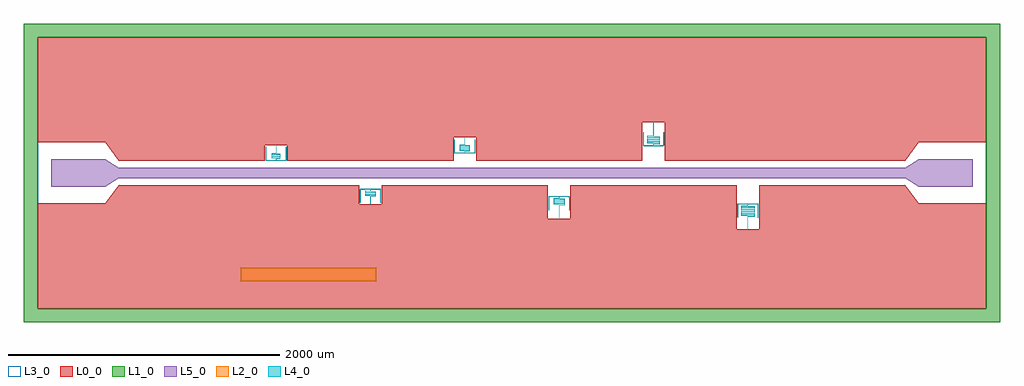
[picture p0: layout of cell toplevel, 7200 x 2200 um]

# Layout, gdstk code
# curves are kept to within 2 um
import gdstk
lib = gdstk.Library(unit=1e-6, precision=1e-09)
def R(c, l, rs):  # rectangles x0, y0, x1, y1
    for r in rs: c.add(gdstk.rectangle(r[:2], r[2:], *l))
def P(c, l, *ps):  # polygons
    for p in ps: c.add(gdstk.Polygon(p, *l))
L0_0 = (0, 0)
L1_0 = (1, 0)
L2_0 = (2, 0)
L3_0 = (3, 0)
L4_0 = (4, 0)
L5_0 = (5, 0)

toplevel = lib.new_cell('toplevel')
P(toplevel, L0_0, [(-1657.5,205),(-1657.5,90),(-430.5,90),(-430.5,264.4),(-265.5,264.4),(-265.5,90),(961.5,90),(961.5,373.8),(1126.5,373.8),(1126.5,90),(2900,90),(3000,225),(3500,225),(3500,1000),(-3500,1000),(-3500,225),(-3000,225),(-2900,90),(-1822.5,90),(-1822.5,205)],
  [(2900,-90),(1822.5,-90),(1822.5,-416),(1657.5,-416),(1657.5,-90),(430.5,-90),(430.5,-336.6),(265.5,-336.6),(265.5,-90),(-961.5,-90),(-961.5,-232.2),(-1126.5,-232.2),(-1126.5,-90),(-2900,-90),(-3000,-225),(-3500,-225),(-3500,-1000),(3500,-1000),(3500,-225),(3000,-225)])
P(toplevel, L1_0, [(3600,1100),(-3600,1100),(-3600,-1000),(-3500,-1000),(-3500,1000),(3500,1000),(3500,-1000),(-3500,-1000),(-3600,-1000),(-3600,-1100),(3600,-1100)])
R(toplevel, L2_0, [(-2000,-800,-1000,-700)])
R(toplevel, L3_0, [(-3500,-1000,3500,1000)])
P(toplevel, L4_0, [(-1739.7,103.925),(-1739.566,104.536),(-1739.02,104.699),(-1709.78,104.71),(-1708.933,105.13),(-1708.7,106.101),(-1708.75,109.468),(-1709.13,110.067),(-1709.828,110.293),(-1769.888,110.3),(-1770.646,110.605),(-1770.689,114.197),(-1770.127,114.695),(-1709.923,114.702),(-1708.79,115.401),(-1708.738,119.416),(-1709.099,120.044),(-1709.81,120.292),(-1769.888,120.3),(-1770.644,120.598),(-1770.682,124.251),(-1770.145,124.694),(-1709.946,124.701),(-1708.797,125.381),(-1708.733,129.39),(-1709.058,130.008),(-1709.816,130.292),(-1769.95,130.3),(-1770.64,130.589),(-1770.687,134.21),(-1770.15,134.693),(-1710.008,134.7),(-1708.81,135.348),(-1708.736,139.403),(-1709.082,140.029),(-1709.786,140.29),(-1769.95,140.3),(-1770.632,140.57),(-1770.691,144.176),(-1770.247,144.682),(-1740.963,144.701),(-1739.834,145.296),(-1739.7,205),(-1740.3,205),(-1740.375,145.555),(-1741.02,145.3),(-1770.364,145.271),(-1771.272,144.358),(-1771.178,140.322),(-1769.986,139.7),(-1709.85,139.693),(-1709.312,139.206),(-1709.364,135.579),(-1710.05,135.3),(-1770.214,135.29),(-1770.918,135.029),(-1771.263,134.409),(-1771.198,130.368),(-1770.763,129.864),(-1769.992,129.7),(-1709.864,129.694),(-1709.31,129.189),(-1709.365,125.576),(-1709.985,125.301),(-1770.19,125.292),(-1770.918,125.029),(-1771.264,124.403),(-1771.208,120.394),(-1770.077,119.702),(-1709.855,119.694),(-1709.309,119.176),(-1709.356,115.598),(-1710.112,115.3),(-1770.22,115.289),(-1770.912,115.034),(-1771.265,114.396),(-1771.232,110.467),(-1770.814,109.894),(-1770.077,109.702),(-1709.824,109.691),(-1709.315,109.227),(-1709.308,105.828),(-1709.985,105.301),(-1739.481,105.246),(-1740.278,104.32),(-1740.3,100),(-1750,95),(-1810.62,95),(-1812.27,95.279),(-1812.502,190.109),(-1812.952,191.434),(-1814.043,192.31),(-1815.326,192.479),(-1816.607,191.915),(-1817.266,191.056),(-1817.5,190),(-1817.475,95.954),(-1816.915,93.4),(-1815.563,91.507),(-1813.447,90.346),(-1810.644,90),(-1669.356,90),(-1666.888,90.253),(-1664.934,91.118),(-1663.1,93.365),(-1662.503,96.563),(-1662.5,190),(-1663.085,191.607),(-1664.353,192.415),(-1665.752,192.384),(-1666.983,191.522),(-1667.498,190.109),(-1667.5,96.88),(-1667.746,95.257),(-1669.38,95),(-1730,95),(-1739.7,100)],
  [(-1044.302,-131.277),(-1044.443,-131.746),(-1044.919,-131.897),(-1082.377,-131.931),(-1083.085,-132.355),(-1083.3,-133.258),(-1083.267,-136.59),(-1082.965,-137.187),(-1082.39,-137.467),(-1006.01,-137.5),(-1005.432,-137.666),(-1005.3,-138.322),(-1005.32,-141.459),(-1005.891,-141.896),(-1081.981,-141.9),(-1082.75,-142.057),(-1083.19,-142.548),(-1083.262,-146.616),(-1082.9,-147.244),(-1082.171,-147.493),(-1006.06,-147.5),(-1005.367,-147.773),(-1005.313,-151.414),(-1005.877,-151.895),(-1081.975,-151.9),(-1082.73,-152.047),(-1083.172,-152.509),(-1083.263,-156.609),(-1082.906,-157.239),(-1082.171,-157.493),(-1006.06,-157.5),(-1005.376,-157.752),(-1005.313,-161.41),(-1005.877,-161.895),(-1081.97,-161.9),(-1083.15,-162.463),(-1083.265,-166.596),(-1082.912,-167.234),(-1082.178,-167.493),(-1006.065,-167.5),(-1005.388,-167.729),(-1005.309,-171.38),(-1005.79,-171.887),(-1043.003,-171.9),(-1044.117,-172.405),(-1044.3,-232.2),(-1043.7,-232.2),(-1043.606,-172.718),(-1042.96,-172.5),(-1005.693,-172.48),(-1005.041,-172.192),(-1004.728,-171.558),(-1004.864,-167.437),(-1006.03,-166.9),(-1082.123,-166.895),(-1082.687,-166.41),(-1082.618,-162.74),(-1081.935,-162.5),(-1005.828,-162.493),(-1005.093,-162.239),(-1004.736,-161.603),(-1004.837,-157.489),(-1006.025,-156.9),(-1082.123,-156.895),(-1082.687,-156.41),(-1082.628,-152.761),(-1081.94,-152.5),(-1005.828,-152.493),(-1005.099,-152.244),(-1004.738,-151.616),(-1004.816,-147.535),(-1005.263,-147.05),(-1006.025,-146.9),(-1082.123,-146.895),(-1082.687,-146.414),(-1082.636,-142.779),(-1081.94,-142.5),(-1005.852,-142.495),(-1005.136,-142.272),(-1004.736,-141.603),(-1004.8,-137.575),(-1005.218,-137.075),(-1005.969,-136.901),(-1082.167,-136.892),(-1082.685,-136.427),(-1082.694,-133.055),(-1082.548,-132.644),(-1082.077,-132.502),(-1044.584,-132.462),(-1043.986,-132.136),(-1043.726,-131.545),(-1043.7,-127.2),(-1034,-122.2),(-973.38,-122.2),(-971.73,-122.479),(-971.5,-124.08),(-971.498,-217.309),(-971.048,-218.634),(-969.957,-219.51),(-968.674,-219.679),(-967.393,-219.115),(-966.734,-218.256),(-966.5,-217.2),(-966.525,-123.154),(-967.1,-120.565),(-968.437,-118.707),(-970.552,-117.546),(-973.356,-117.2),(-1114.644,-117.2),(-1117.112,-117.453),(-1119.066,-118.318),(-1120.853,-120.461),(-1121.496,-123.713),(-1121.5,-217.2),(-1120.915,-218.807),(-1119.647,-219.615),(-1118.248,-219.584),(-1117.017,-218.722),(-1116.502,-217.309),(-1116.5,-124.1),(-1116.254,-122.457),(-1114.62,-122.2),(-1054,-122.2),(-1044.3,-127.2)],
  [(-347.7,158.33),(-347.559,158.944),(-347.005,159.099),(-311.316,159.107),(-310.461,159.494),(-310.2,160.501),(-310.257,163.894),(-310.624,164.462),(-311.358,164.695),(-384.388,164.7),(-385.148,165.012),(-385.184,168.639),(-384.654,169.093),(-311.463,169.101),(-310.718,169.275),(-310.3,169.775),(-310.236,173.803),(-310.57,174.419),(-311.346,174.694),(-384.445,174.7),(-385.139,174.986),(-385.187,178.614),(-384.627,179.095),(-311.519,179.1),(-310.75,179.257),(-310.31,179.748),(-310.238,183.816),(-310.593,184.439),(-311.322,184.693),(-384.44,184.7),(-385.132,184.97),(-385.187,188.61),(-384.627,189.095),(-311.525,189.1),(-310.776,189.243),(-310.331,189.702),(-310.236,193.803),(-310.593,194.439),(-311.322,194.693),(-384.44,194.7),(-385.121,194.946),(-385.187,198.61),(-384.627,199.095),(-311.53,199.1),(-310.357,199.65),(-310.235,203.796),(-310.587,204.434),(-311.316,204.692),(-384.435,204.7),(-385.109,204.924),(-385.191,208.576),(-384.714,209.087),(-348.991,209.101),(-347.89,209.592),(-347.7,264.4),(-348.3,264.4),(-348.399,209.911),(-349.04,209.7),(-384.82,209.678),(-385.47,209.382),(-385.774,208.745),(-385.629,204.624),(-384.47,204.1),(-311.373,204.095),(-310.812,203.606),(-310.885,199.935),(-311.56,199.7),(-384.683,199.692),(-385.412,199.434),(-385.765,198.796),(-385.657,194.676),(-385.211,194.237),(-384.475,194.1),(-311.373,194.095),(-310.813,193.61),(-310.873,189.958),(-311.56,189.7),(-384.677,189.693),(-385.406,189.439),(-385.763,188.809),(-385.681,184.728),(-385.237,184.25),(-384.481,184.1),(-311.373,184.095),(-310.813,183.614),(-310.864,179.979),(-311.555,179.7),(-384.677,179.693),(-385.406,179.439),(-385.761,178.816),(-385.695,174.761),(-385.256,174.26),(-384.481,174.1),(-311.386,174.096),(-310.819,173.655),(-310.855,170.002),(-311.505,169.7),(-384.653,169.694),(-385.394,169.448),(-385.765,168.796),(-385.708,164.794),(-385.224,164.243),(-384.388,164.1),(-311.346,164.093),(-310.944,163.948),(-310.801,163.444),(-310.808,160.228),(-311.171,159.734),(-347.428,159.659),(-348.019,159.33),(-348.275,158.739),(-348.3,154.4),(-358,149.4),(-418.62,149.4),(-420.243,149.646),(-420.5,151.3),(-420.502,244.509),(-420.952,245.834),(-422.043,246.71),(-423.326,246.879),(-424.607,246.315),(-425.266,245.456),(-425.5,244.4),(-425.475,150.354),(-424.915,147.8),(-423.563,145.907),(-421.447,144.746),(-418.644,144.4),(-277.356,144.4),(-274.888,144.653),(-272.934,145.518),(-271.869,146.5),(-271.1,147.766),(-270.503,150.963),(-270.5,244.4),(-271.085,246.007),(-272.353,246.815),(-273.752,246.784),(-274.983,245.922),(-275.498,244.509),(-275.5,151.28),(-275.746,149.657),(-277.38,149.4),(-338,149.4),(-347.7,154.4)],
  [(347.697,-185.677),(347.555,-186.148),(347.077,-186.298),(307.699,-186.319),(306.961,-186.693),(306.701,-187.58),(306.729,-190.964),(307.007,-191.559),(307.493,-191.84),(388.091,-191.903),(388.544,-192.041),(388.695,-192.468),(388.695,-195.723),(388.427,-196.233),(307.876,-196.304),(307.082,-196.571),(306.715,-197.33),(306.725,-200.939),(307.296,-201.766),(388.114,-201.904),(388.548,-202.044),(388.689,-202.407),(388.494,-206.198),(307.876,-206.304),(307.058,-206.591),(306.717,-207.318),(306.712,-210.838),(307.142,-211.676),(308.111,-211.9),(388.114,-211.904),(388.688,-212.398),(388.53,-216.172),(307.882,-216.304),(307.099,-216.556),(306.731,-217.223),(306.704,-220.724),(307.013,-221.565),(308.111,-221.9),(388.109,-221.904),(388.687,-222.386),(388.559,-226.144),(307.888,-226.304),(307.148,-226.52),(306.75,-227.132),(306.7,-230.597),(307.013,-231.565),(307.957,-231.899),(387.94,-231.9),(388.644,-232.198),(388.689,-235.793),(388.206,-236.288),(348.98,-236.301),(348.231,-236.468),(347.8,-236.975),(347.7,-336.6),(348.3,-336.6),(348.359,-237.192),(349.03,-236.9),(388.294,-236.881),(388.948,-236.603),(389.267,-235.99),(389.205,-231.988),(388.763,-231.464),(387.981,-231.3),(307.882,-231.295),(307.314,-230.818),(307.353,-227.208),(308.055,-226.9),(388.165,-226.894),(388.894,-226.648),(389.259,-226.028),(389.217,-222.021),(388.782,-221.475),(387.981,-221.3),(307.882,-221.295),(307.314,-220.823),(307.348,-217.222),(308.055,-216.9),(388.165,-216.894),(388.894,-216.648),(389.257,-216.035),(389.226,-212.047),(388.788,-211.479),(387.981,-211.3),(307.882,-211.295),(307.314,-210.823),(307.344,-207.236),(308.055,-206.9),(388.165,-206.894),(388.894,-206.648),(389.257,-206.035),(389.234,-202.073),(388.801,-201.487),(387.986,-201.3),(307.882,-201.295),(307.315,-200.827),(307.341,-197.246),(308.055,-196.9),(388.13,-196.896),(388.882,-196.658),(389.257,-196.035),(389.24,-192.093),(388.858,-191.524),(388.031,-191.301),(307.868,-191.295),(307.313,-190.814),(307.378,-187.149),(308.106,-186.9),(347.454,-186.853),(348.008,-186.542),(348.273,-185.951),(348.3,-181.6),(358,-176.6),(418.62,-176.6),(420.243,-176.846),(420.5,-178.5),(420.502,-271.709),(420.734,-272.656),(421.311,-273.443),(422.145,-273.949),(423.109,-274.098),(424.768,-273.368),(425.498,-271.709),(425.5,-178.48),(425.154,-175.652),(423.964,-173.505),(422.031,-172.156),(419.327,-171.614),(277.356,-171.6),(275.02,-171.821),(273.07,-172.627),(271.923,-173.634),(271.147,-174.861),(270.505,-178.062),(270.5,-271.6),(270.69,-272.557),(271.311,-273.443),(272.248,-273.984),(273.218,-274.09),(274.768,-273.368),(275.498,-271.709),(275.5,-178.48),(275.746,-176.857),(277.38,-176.6),(338,-176.6),(347.7,-181.6)],
  [(1044.3,212.73),(1044.421,213.321),(1044.933,213.498),(1088.332,213.524),(1089.058,213.918),(1089.299,214.78),(1089.269,218.177),(1089.024,218.724),(1088.474,219.048),(999.919,219.103),(999.458,219.239),(999.306,219.664),(999.305,222.923),(999.573,223.433),(1088.118,223.504),(1088.948,223.797),(1089.29,224.586),(1089.274,228.145),(1088.652,228.99),(999.886,229.104),(999.452,229.244),(999.311,229.603),(999.304,232.904),(999.508,233.399),(1088.118,233.504),(1088.936,233.786),(1089.282,234.512),(1089.287,238.045),(1088.852,238.88),(1087.888,239.1),(999.891,239.104),(999.458,239.239),(999.312,239.594),(999.472,243.374),(1088.112,243.503),(1088.894,243.752),(1089.269,244.423),(1089.288,248.038),(1088.953,248.798),(1087.888,249.1),(999.895,249.104),(999.464,249.233),(999.314,249.582),(999.443,253.346),(1088.106,253.503),(1088.912,253.766),(1089.264,254.397),(1089.296,257.924),(1089.019,258.73),(1087.888,259.1),(999.895,259.104),(999.47,259.228),(999.315,259.573),(999.416,263.314),(1000.117,263.5),(1088.106,263.503),(1088.833,263.707),(1089.241,264.3),(1089.3,267.797),(1088.987,268.765),(1088.037,269.099),(1000.065,269.1),(999.363,269.382),(999.311,272.993),(999.807,273.489),(1043.008,273.501),(1043.75,273.657),(1044.184,274.135),(1044.3,373.8),(1043.7,373.8),(1043.633,274.373),(1042.96,274.1),(999.724,274.084),(999.058,273.808),(998.733,273.19),(998.808,269.155),(999.25,268.657),(1000.03,268.5),(1088.104,268.496),(1088.527,268.374),(1088.686,268.023),(1088.641,264.392),(1087.94,264.1),(999.846,264.094),(999.105,263.848),(998.741,263.228),(998.795,259.188),(999.237,258.664),(1000.025,258.5),(1088.109,258.496),(1088.527,258.374),(1088.686,258.023),(1088.646,254.405),(1087.94,254.1),(999.846,254.094),(999.105,253.848),(998.741,253.228),(998.785,249.214),(999.224,248.671),(1000.025,248.5),(1088.109,248.496),(1088.527,248.374),(1088.686,248.023),(1088.651,244.418),(1087.94,244.1),(999.852,244.095),(999.112,243.853),(998.743,243.235),(998.776,239.24),(999.211,238.679),(1000.025,238.5),(1088.109,238.496),(1088.527,238.374),(1088.685,238.027),(1088.655,234.432),(1087.94,234.1),(999.852,234.095),(999.112,233.853),(998.744,233.241),(998.768,229.267),(999.199,228.687),(1000.019,228.5),(1088.109,228.496),(1088.527,228.374),(1088.685,228.027),(1088.657,224.439),(1087.945,224.1),(999.882,224.096),(999.118,223.858),(998.743,223.235),(998.762,219.287),(999.186,218.694),(999.98,218.501),(1088.063,218.498),(1088.527,218.374),(1088.686,218.018),(1088.622,214.349),(1087.894,214.1),(1044.571,214.059),(1044.002,213.753),(1043.728,213.158),(1043.7,208.8),(1034,203.8),(973.38,203.8),(971.763,204.041),(971.5,205.68),(971.498,298.909),(971.266,299.856),(970.689,300.643),(969.855,301.149),(968.891,301.298),(967.943,301.066),(967.232,300.568),(966.69,299.757),(966.502,298.909),(966.5,205.656),(966.846,202.852),(968.007,200.737),(969.935,199.37),(972.673,198.814),(1114.644,198.8),(1116.98,199.021),(1118.895,199.805),(1119.964,200.705),(1120.82,201.992),(1121.321,203.515),(1121.493,205.185),(1121.5,298.8),(1121.31,299.757),(1120.689,300.643),(1119.752,301.184),(1118.782,301.29),(1117.232,300.568),(1116.69,299.757),(1116.502,298.909),(1116.5,205.7),(1116.254,204.057),(1114.62,203.8),(1054,203.8),(1044.3,208.8)],
  [(1739.697,-240.081),(1739.548,-240.555),(1739.058,-240.698),(1690.693,-240.72),(1689.956,-241.099),(1689.701,-241.963),(1689.731,-245.377),(1690.03,-245.982),(1690.604,-246.265),(1789.091,-246.303),(1789.544,-246.441),(1789.695,-246.868),(1789.692,-250.163),(1789.375,-250.653),(1690.894,-250.703),(1690.076,-250.976),(1689.712,-251.768),(1689.726,-255.345),(1689.961,-255.906),(1690.388,-256.205),(1789.109,-256.304),(1789.546,-256.443),(1789.697,-256.905),(1789.696,-260.109),(1789.445,-260.625),(1690.888,-260.704),(1690.064,-260.986),(1689.718,-261.712),(1689.713,-265.245),(1690.192,-266.11),(1691.117,-266.3),(1789.109,-266.304),(1789.542,-266.439),(1789.688,-266.794),(1789.696,-270.109),(1789.523,-270.577),(1690.894,-270.703),(1690.07,-270.981),(1689.72,-271.693),(1689.713,-275.245),(1690.082,-276.029),(1691.117,-276.3),(1789.104,-276.304),(1789.538,-276.435),(1789.687,-276.786),(1789.555,-280.548),(1788.883,-280.7),(1690.894,-280.703),(1690.082,-280.971),(1689.723,-281.674),(1689.704,-285.124),(1690.018,-285.97),(1691.117,-286.3),(1789.1,-286.304),(1789.532,-286.43),(1789.686,-286.777),(1789.555,-290.548),(1788.883,-290.7),(1690.9,-290.703),(1690.099,-290.956),(1689.727,-291.649),(1689.704,-295.124),(1689.956,-295.9),(1690.44,-296.224),(1691.117,-296.3),(1789.095,-296.303),(1789.523,-296.423),(1789.69,-296.811),(1789.582,-300.516),(1788.883,-300.7),(1690.792,-300.709),(1690.047,-301.002),(1689.73,-301.63),(1689.704,-305.124),(1689.928,-305.864),(1690.394,-306.208),(1691.117,-306.3),(1789.095,-306.303),(1789.546,-306.443),(1789.689,-306.807),(1789.607,-310.479),(1788.883,-310.7),(1690.911,-310.702),(1690.199,-310.887),(1689.772,-311.454),(1689.7,-314.992),(1690.013,-315.965),(1690.974,-316.299),(1788.93,-316.3),(1789.625,-316.555),(1789.689,-320.193),(1789.548,-320.555),(1789.176,-320.691),(1741.003,-320.7),(1740.283,-320.84),(1739.843,-321.276),(1739.7,-322.079),(1739.7,-416),(1740.3,-416),(1740.379,-321.546),(1741.045,-321.3),(1789.251,-321.287),(1789.936,-321.014),(1790.268,-320.383),(1790.166,-316.296),(1789.717,-315.84),(1788.964,-315.7),(1690.905,-315.697),(1690.472,-315.574),(1690.314,-315.218),(1690.371,-311.564),(1691.065,-311.3),(1789.136,-311.295),(1789.888,-311.053),(1790.26,-310.422),(1790.181,-306.328),(1789.73,-305.847),(1788.964,-305.7),(1690.905,-305.697),(1690.475,-305.575),(1690.314,-305.223),(1690.364,-301.579),(1691.065,-301.3),(1789.136,-301.295),(1789.888,-301.053),(1790.259,-300.428),(1790.195,-296.361),(1789.75,-295.857),(1788.97,-295.7),(1690.905,-295.697),(1690.475,-295.575),(1690.315,-295.227),(1690.358,-291.595),(1691.065,-291.3),(1789.136,-291.295),(1789.882,-291.058),(1790.257,-290.435),(1790.208,-286.394),(1789.763,-285.864),(1788.97,-285.7),(1690.905,-285.697),(1690.475,-285.575),(1690.315,-285.227),(1690.353,-281.608),(1691.065,-281.3),(1789.136,-281.295),(1789.882,-281.058),(1790.257,-280.435),(1790.215,-276.414),(1789.776,-275.871),(1788.97,-275.7),(1690.905,-275.697),(1690.475,-275.575),(1690.315,-275.227),(1690.349,-271.618),(1690.567,-271.369),(1691.06,-271.3),(1789.136,-271.295),(1789.882,-271.058),(1790.256,-270.442),(1790.224,-266.44),(1789.782,-265.875),(1788.97,-265.7),(1690.905,-265.697),(1690.477,-265.577),(1690.315,-265.231),(1690.345,-261.632),(1690.561,-261.372),(1691.06,-261.3),(1789.136,-261.295),(1789.882,-261.058),(1790.256,-260.442),(1790.23,-256.46),(1789.795,-255.883),(1788.975,-255.7),(1690.914,-255.697),(1690.488,-255.586),(1690.32,-255.263),(1690.345,-251.632),(1690.558,-251.373),(1691.025,-251.3),(1789.196,-251.292),(1789.882,-251.058),(1790.256,-250.441),(1790.243,-246.506),(1789.845,-245.915),(1789.031,-245.701),(1690.937,-245.698),(1690.47,-245.572),(1690.314,-245.218),(1690.359,-241.592),(1691.106,-241.3),(1739.403,-241.264),(1739.987,-240.965),(1740.271,-240.364),(1740.3,-236),(1750,-231),(1810.62,-231),(1812.218,-231.228),(1812.5,-232.9),(1812.502,-326.109),(1812.734,-327.056),(1813.311,-327.843),(1814.145,-328.349),(1815.109,-328.498),(1815.957,-328.31),(1816.768,-327.768),(1817.31,-326.957),(1817.498,-326.109),(1817.5,-232.88),(1817.154,-230.052),(1816.678,-228.915),(1815.964,-227.905),(1814.031,-226.556),(1811.327,-226.014),(1669.356,-226),(1667.02,-226.221),(1665.07,-227.027),(1663.923,-228.034),(1663.147,-229.261),(1662.679,-230.715),(1662.505,-232.462),(1662.5,-326),(1662.69,-326.957),(1663.311,-327.843),(1664.248,-328.384),(1665.218,-328.49),(1666.056,-328.266),(1666.768,-327.768),(1667.31,-326.957),(1667.498,-326.109),(1667.5,-232.88),(1667.746,-231.257),(1669.38,-231),(1730,-231),(1739.7,-236)])
P(toplevel, L5_0, [(-2900,40),(-3000,100),(-3400,100),(-3400,-100),(-3000,-100),(-2900,-40),(2900,-40),(3000,-100),(3400,-100),(3400,100),(3000,100),(2900,40)])

lib.write_gds('toplevel.gds')
